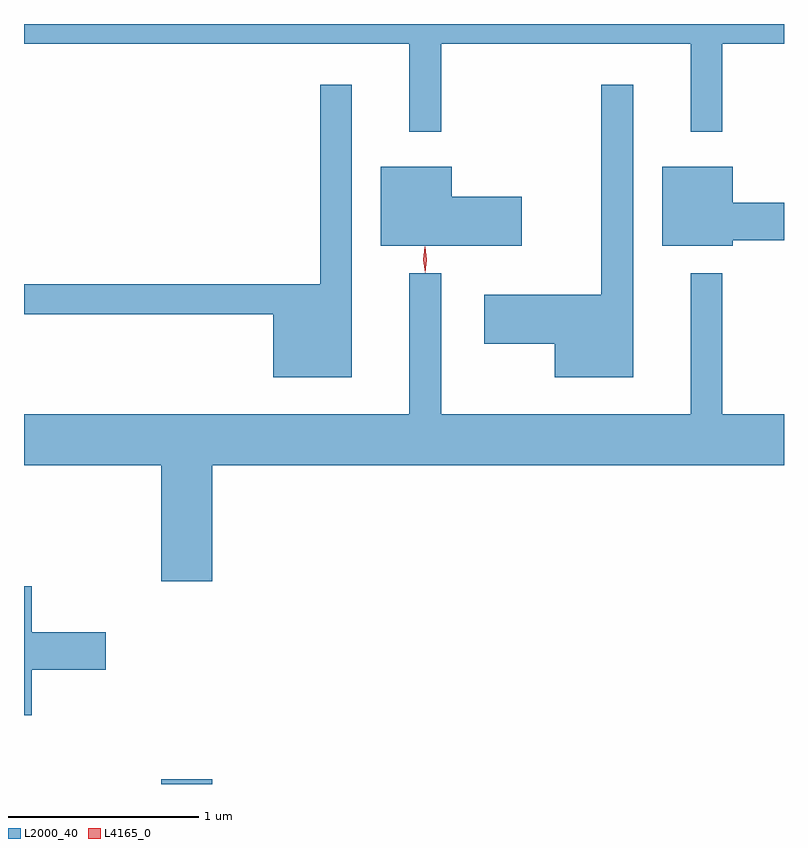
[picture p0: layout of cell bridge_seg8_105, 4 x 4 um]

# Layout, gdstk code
import gdstk
lib = gdstk.Library(unit=1e-6, precision=1e-09)
def R(c, l, rs):  # rectangles x0, y0, x1, y1
    for r in rs: c.add(gdstk.rectangle(r[:2], r[2:], *l))
def P(c, l, *ps):  # polygons
    for p in ps: c.add(gdstk.Polygon(p, *l))
L2000_40 = (2000, 40)
L4165_0 = (4165, 0)

bridge_seg8_105 = lib.new_cell('bridge_seg8_105')
R(bridge_seg8_105, L2000_40, [(1453.836,1868.039,1454.104,1868.064)])
P(bridge_seg8_105, L2000_40, [(1455.309,1871.936),(1456.621,1871.936),(1456.621,1871.473),(1456.789,1871.473),(1456.789,1871.936),(1457.113,1871.936),(1457.113,1872.039),(1453.113,1872.039),(1453.113,1871.936),(1455.141,1871.936),(1455.141,1871.473),(1455.309,1871.473)],
  [(1456.319,1871.718),(1456.151,1871.718),(1456.151,1870.614),(1455.536,1870.614),(1455.536,1870.356),(1455.906,1870.356),(1455.906,1870.181),(1456.319,1870.181)],
  [(1454.839,1871.718),(1454.671,1871.718),(1454.671,1870.669),(1453.113,1870.669),(1453.113,1870.511),(1454.426,1870.511),(1454.426,1870.181),(1454.839,1870.181)],
  [(1455.734,1871.129),(1455.364,1871.129),(1455.364,1871.289),(1454.991,1871.289),(1454.991,1870.871),(1455.734,1870.871)],
  [(1456.844,1870.901),(1457.113,1870.901),(1457.113,1871.099),(1456.844,1871.099),(1456.844,1871.289),(1456.471,1871.289),(1456.471,1870.871),(1456.844,1870.871)],
  [(1454.104,1869.716),(1457.113,1869.716),(1457.113,1869.984),(1456.789,1869.984),(1456.789,1870.728),(1456.621,1870.728),(1456.621,1869.984),(1455.309,1869.984),(1455.309,1870.728),(1455.141,1870.728),(1455.141,1869.984),(1453.113,1869.984),(1453.113,1869.716),(1453.836,1869.716),(1453.836,1869.106),(1454.104,1869.106)],
  [(1453.154,1868.641),(1453.544,1868.641),(1453.544,1868.839),(1453.154,1868.839),(1453.154,1869.079),(1453.113,1869.079),(1453.113,1868.401),(1453.154,1868.401)])
P(bridge_seg8_105, L4165_0, [(1455.224,1870.73),(1455.224,1870.73),(1455.214,1870.798),(1455.223,1870.866),(1455.223,1870.866),(1455.224,1870.866),(1455.234,1870.798),(1455.224,1870.73)],
  [(1455.224,1870.733),(1455.224,1870.733),(1455.214,1870.796),(1455.223,1870.859),(1455.223,1870.859),(1455.224,1870.859),(1455.234,1870.796),(1455.224,1870.733)])

lib.write_gds('bridge_seg8_105.gds')
